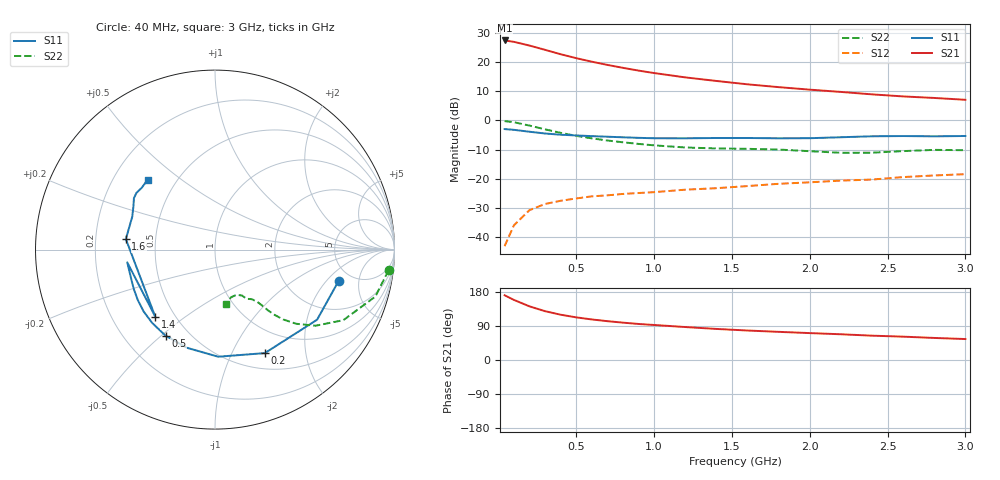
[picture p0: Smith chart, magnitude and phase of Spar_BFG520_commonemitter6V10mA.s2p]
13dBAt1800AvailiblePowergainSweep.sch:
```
<Qucs Schematic 0.0.20>
<Properties>
  <View=-126,-45,1832,943,0.946185,87,24>
  <Grid=10,10,1>
  <DataSet=13dBAt1800AvailiblePowergainSweep.dat>
  <DataDisplay=13dBAt1800AvailiblePowergainSweep.dpl>
  <OpenDisplay=1>
  <Script=13dBAt1800AvailiblePowergainSweep.m>
  <RunScript=0>
  <showFrame=0>
  <FrameText0=Title>
  <FrameText1=Drawn By:>
  <FrameText2=Date:>
  <FrameText3=Revision:>
</Properties>
<Symbol>
</Symbol>
<Components>
  <GND * 5 370 330 0 0 0 0>
  <GND * 5 670 360 0 0 0 0>
  <GND * 5 90 360 0 0 0 0>
  <Pac P1 1 90 340 18 -26 0 1 "1" 1 "50 Ohm" 1 "0 dBm" 0 "1 GHz" 0 "26.85" 0>
  <Pac P2 1 670 330 18 -26 0 1 "2" 1 "50 Ohm" 1 "0 dBm" 0 "1 GHz" 0 "26.85" 0>
  <SPfile X1 1 370 300 -26 -41 0 0 "/home/lasse/Documents/test M4/Spar_BFG520_commonemitter6V10mA.s2p" 0 "rectangular" 0 "linear" 0 "open" 0 "2" 0>
  <Eqn Eqn4 1 900 240 -31 19 0 0 "Delta=S[1,1]*S[2,2]-S[1,2]*S[2,1]" 1 "yes" 0>
  <Eqn Eqn3 1 900 340 -31 19 0 0 "B1=1+abs(S[1,1])^2-abs(S[2,2]-abs(Delta)^2)" 1 "B2=1+abs(S[2,2])^2-abs(S[1,1]-abs(Delta)^2)" 1 "C1=S[1,1]-Delta*conj(S[2,2])" 1 "C2=S[2,2]-Delta*conj(S[1,1])" 1 "GammaS=(B1-sqrt(B1^-4*abs(C1)^2))/(2*C1)" 1 "yes" 0>
  <Eqn Sparam1 1 300 10 -30 16 0 0 "S12dB=dB(S[1,2])" 1 "S12=(S[1,2])" 1 "S11dB=dB(S[1,1])" 1 "S11=(S[1,1])" 1 "S21dB=dB(S[2,1])" 1 "S21=(S[2,1])" 1 "S22dB=dB(S[2,2])" 1 "S22=(S[2,2])" 1 "yes" 0>
  <TLIN SourceStub 1 160 202 -45 -90 0 2 "50 Ohm" 1 "15.015 mm" 1 "0 dB" 0 "26.85" 0>
  <TLIN SourceSeries 1 250 300 -26 20 0 0 "50 Ohm" 1 "20.685 mm" 1 "0 dB" 0 "26.85" 0>
  <TLIN LoadStub 1 620 200 -26 20 0 0 "50 Ohm" 1 "19.825 mm" 1 "0 dB" 0 "26.85" 0>
  <TLIN LoadSeries 1 510 300 -26 20 0 0 "50 Ohm" 1 "42.568 mm" 1 "0 dB" 0 "26.85" 0>
  <Eqn Eqn1 1 190 430 -31 19 0 0 "K=Rollet(S)" 1 "yes" 0>
  <Eqn Eqn2 1 450 430 -31 19 0 0 "GT=dB((abs(S[2,1])/abs(S[1,2]))*(K-sqrt(K^2-1)))" 1 "yes" 0>
  <Eqn Eqn5 1 1290 630 -31 19 0 0 "GammaIndB=dB(abs(GammaS))" 1 "GammaOutdB=dB(abs(GammaL))" 1 "yes" 0>
  <Eqn Eqn7 1 1260 280 -31 19 0 0 "Gamma_out=S[2,2]+S[1,2]*S[2,1]*GammaS/(1-S[1,1]*GammaS)" 1 "phase_Gamma_out=phase(S[2,2]+S[1,2]*S[2,1]*GammaS/(1-S[1,1]*GammaS))" 1 "Gamma_in=S[1,1]+S[1,2]*S[2,1]*GammaL/(1-S[2,2]*GammaL)" 1 "Phase_Gamma_in=phase(S[1,1]+S[1,2]*S[2,1]*GammaL/(1-S[2,2]*GammaL))" 1 "yes" 0>
  <Eqn Eqn6 1 1260 470 -31 19 0 0 "GammaL=(B2-sqrt(B2^-4*abs(C2)^2))/(2*C2)" 1 "phase_GammaL=phase((B2-sqrt(B2^-4*abs(C2)^2))/(2*C2))" 1 "phase_GammaS=phase(GammaS)" 1 "yes" 0>
  <.SP SP1 1 430 10 0 81 0 0 "lin" 1 "1.5GHz" 1 "3GHz" 1 "1000" 1 "yes" 1 "1" 0 "2" 0 "no" 0 "no" 0>
</Components>
<Wires>
  <190 200 190 202 "" 0 0 0 "">
  <280 300 340 300 "" 0 0 0 "">
  <190 300 220 300 "" 0 0 0 "">
  <590 200 590 300 "" 0 0 0 "">
  <190 202 190 300 "" 0 0 0 "">
  <90 360 90 370 "" 0 0 0 "">
  <90 300 90 310 "" 0 0 0 "">
  <90 300 190 300 "" 0 0 0 "">
  <590 300 670 300 "" 0 0 0 "">
  <540 300 590 300 "" 0 0 0 "">
  <400 300 480 300 "" 0 0 0 "">
</Wires>
<Diagrams>
  <Rect 20 700 240 160 3 #c0c0c0 1 00 1 0 0.2 1 1 -0.1 0.5 1.1 1 -0.1 0.5 1.1 315 0 225 "" "" "" "">
	<"S11dB" #0000ff 0 3 0 0 0>
	<"S22dB" #ff0000 0 3 0 0 0>
	<"S21dB" #ff00ff 0 3 0 0 0>
  </Rect>
  <Rect 680 170 240 160 3 #c0c0c0 1 00 1 0 0.2 1 1 -0.1 0.5 1.1 1 -0.1 0.5 1.1 315 0 225 "" "" "" "">
	<"F" #0000ff 0 3 0 0 0>
	<"Fmin" #ff0000 0 3 0 0 0>
  </Rect>
  <Rect 340 700 240 160 3 #c0c0c0 1 00 1 1.75e+09 2e+07 1.85e+09 1 -6.95388 5 2.93507 1 -1 1 1 315 0 225 "" "" "" "">
	<"GammaIndB" #0000ff 0 3 0 0 0>
	<"GammaOutdB" #ff0000 0 3 0 0 0>
  </Rect>
  <Rect 732 700 418 154 3 #c0c0c0 1 00 1 0 0.2 1 1 -0.1 0.5 1.1 1 -0.1 0.5 1.1 315 0 225 "" "" "" "">
	<"phase_GammaL" #0000ff 0 3 0 0 0>
	<"phase_Gamma_out" #ff0000 0 3 0 0 0>
  </Rect>
  <Rect 1020 181 374 161 3 #c0c0c0 1 00 1 0 0.2 1 1 -0.1 0.5 1.1 1 -0.1 0.5 1.1 315 0 225 "" "" "" "">
	<"phase_GammaS" #ff0000 0 3 0 0 0>
	<"Phase_Gamma_in" #ff00ff 0 3 0 0 0>
  </Rect>
</Diagrams>
<Paintings>
</Paintings>
```
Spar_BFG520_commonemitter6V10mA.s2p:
! Filename:  BFG520I.S2P  Version:  2.1
! NXP part #: BFG520  Date: Feb 1992
! Bias condition: Vce=6V, Ic=10mA
! IN LINE PINNING: same data as with cross emitter pinning.
#  MHz  S  MA  R  50
! Freq  S11  S21  S12  S22  !GUM [dB]
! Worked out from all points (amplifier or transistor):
!   21 points, 40 MHz to 3 GHz, reference 50 ohm
!   highest |S21| = 27.4 dB at 40 MHz (marker M1)
!   |S21| within 3 dB of that: start of sweep to 285.2 MHz
!   unconditionally stable (mu >= 1): 1.301 GHz to end of sweep
!   at 300 MHz: K = 0.31, MSG = 26.4 dB, |S12| = -28.6 dB
!   at 1 GHz: K = 0.86, MSG = 20.4 dB, |S12| = -24.6 dB
!   at 3 GHz: K = 1.24, MAG = 9.8 dB, |S12| = -18.4 dB
!   lowest NFmin = 1.10 dB at 500 MHz
!   S11 on the Smith chart (normalised r, x): 40 MHz: 3.91, -2.74; 200 MHz: 0.69, -1.35; 500 MHz: 0.37, -0.52; 1.4 GHz: 0.39, -0.39; 1.6 GHz: 0.33, +0.05; 3 GHz: 0.35, +0.38
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40  0.711 -14.1  23.47 170.8  0.007 82.3  0.974 -6.8
100  0.69 -34.5  22.22 158.5  0.016 74.0  0.931 -16.3
200  0.64 -64.3  19.18 141.5  0.029 62.4  0.816 -28.8
300  0.597 -88.3  16.21 128.8  0.037 54.2  0.703 -37.1
400  0.569 -106.1  13.63 119.5  0.042 50.9  0.613 -42.4
500  0.553 -119.9  11.67 112.5  0.046 48.6  0.544 -45.7
600  0.538 -130.7  10.15 107.0  0.05 47.2  0.493 -47.6
800  0.514 -146.7  7.968 98.6  0.055 47.9  0.422 -49.5
1400  0.5 -131.8  4.748 82.0  0.069 52.5  0.331 -56.1
1600  0.5 173.3  4.159 77.8  0.075 55.2  0.326 -57.3
3000  0.541 133.9  2.259 55.3  0.12 62.3  0.309 -78.3
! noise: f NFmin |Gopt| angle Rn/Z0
500  1.1  0.33  27  0.25
900  1.25  0.294  48  0.26
1000  1.3  0.298  52  0.27
2000  1.9  0.242  134  0.16
